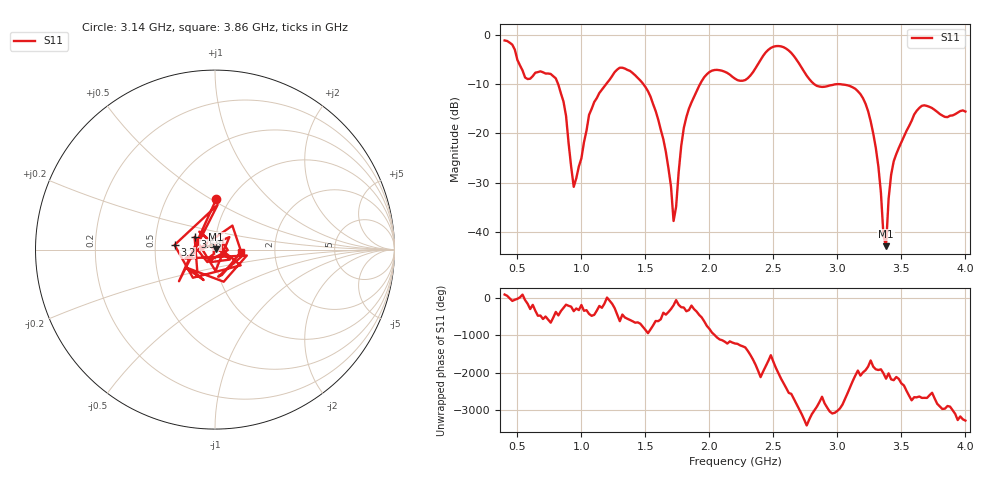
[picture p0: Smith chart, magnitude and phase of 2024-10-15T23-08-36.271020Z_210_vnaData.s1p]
! Created with skrf (http://scikit-rf.org).
# Hz S RI R 50.0
!freq ReS11 ImS11
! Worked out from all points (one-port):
!   181 points, 400 MHz to 4 GHz, reference 50 ohm
!   lowest |S11| = -42.8 dB at 3.38 GHz (marker M1), VSWR 1.01, Z = 50.7 + j0.0594 ohm
!   |S11| at or under -10 dB: 817.9 MHz to 1.193 GHz (375.4 MHz wide, 37.3 % of centre); 1.483 GHz to 1.928 GHz (444.4 MHz wide, 26.1 % of centre); 2.818 GHz to end of sweep
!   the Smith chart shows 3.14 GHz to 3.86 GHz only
!   S11 on the Smith chart (normalised r, x): 3.14 GHz: 0.86, +0.53; 3.2 GHz: 0.63, +0.03; 3.58 GHz: 0.79, +0.11; 3.86 GHz: 1.34, -0.03
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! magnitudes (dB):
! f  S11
! 400 MHz  -1.2
! 560 MHz  -8.7
! 760 MHz  -8.0
! 860 MHz  -13.6
! 940 MHz  -30.8
! 1.06 GHz  -16.2
! 1.3 GHz  -6.7
! 1.58 GHz  -15.5
! 1.66 GHz  -23.8
! 1.72 GHz  -37.7
! 1.76 GHz  -27.8
! 1.82 GHz  -16.7
! 1.94 GHz  -9.4
! 2.2 GHz  -8.9
! 2.5 GHz  -2.5
! 2.66 GHz  -4.3
! 2.84 GHz  -10.4
! 3.1 GHz  -10.4
! 3.14 GHz  -11.0
! 3.2 GHz  -12.9
! 3.3 GHz  -22.9
! 3.38 GHz  -42.8
! 3.42 GHz  -28.3
! 3.56 GHz  -18.5
! 3.58 GHz  -17.5
! 3.68 GHz  -14.3
! 3.86 GHz  -16.7
! 4 GHz  -15.6
